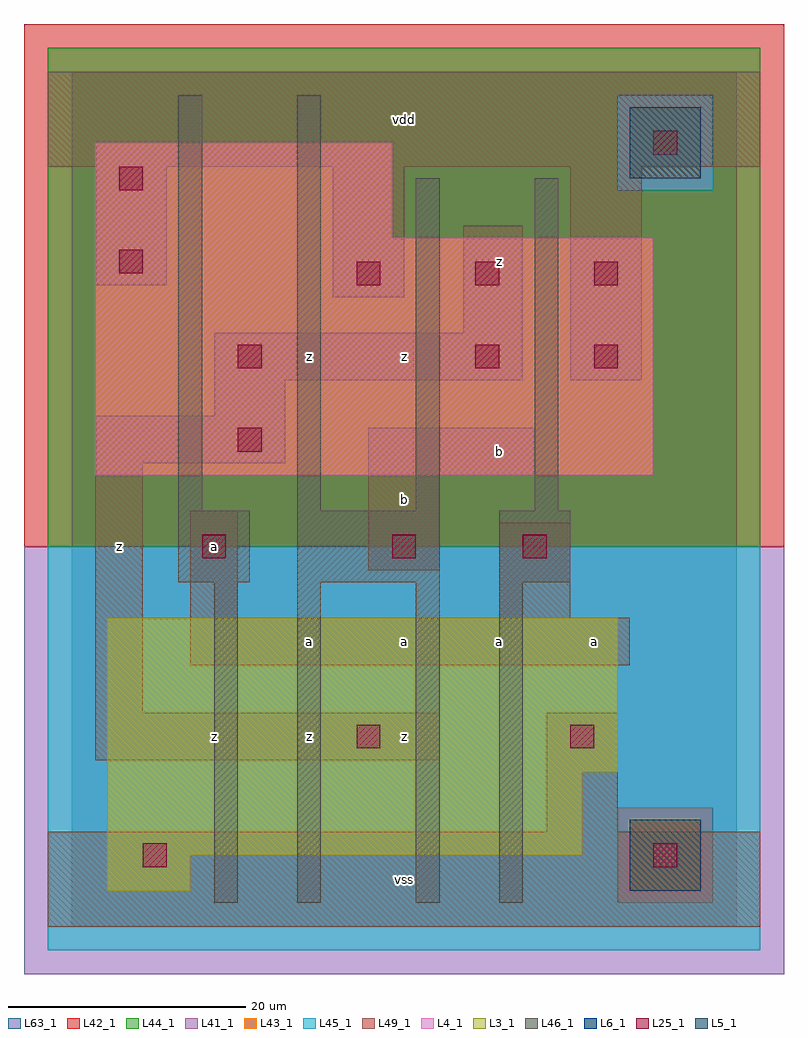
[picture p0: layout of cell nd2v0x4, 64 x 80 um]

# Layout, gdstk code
import gdstk
lib = gdstk.Library(unit=1e-6, precision=1e-09)
def R(c, l, rs):  # rectangles x0, y0, x1, y1
    for r in rs: c.add(gdstk.rectangle(r[:2], r[2:], *l))
def A(c, l, x, y, w, h, nx, ny, dx, dy):  # array of equal rectangles
    R(c, l, [(x+i*dx, y+j*dy, x+i*dx+w, y+j*dy+h) for i in range(nx) for j in range(ny)])
L3_1 = (3, 1)
L4_1 = (4, 1)
L5_1 = (5, 1)
L6_1 = (6, 1)
L25_1 = (25, 1)
L41_1 = (41, 1)
L42_1 = (42, 1)
L43_1 = (43, 1)
L44_1 = (44, 1)
L45_1 = (45, 1)
L46_1 = (46, 1)
L49_1 = (49, 1)
L63_1 = (63, 1)

nd2v0x4 = lib.new_cell('nd2v0x4')
R(nd2v0x4, L3_1, [(3,3,10,6), (3,6,43,13), (3,13,46,26)])
R(nd2v0x4, L4_1, [(2,38,49,58), (2,58,27,66)])
R(nd2v0x4, L5_1, [(47,63,53,69)])
R(nd2v0x4, L6_1, [(47,3,53,9), (47,3,53,9)])
A(nd2v0x4, L25_1, 24, 54, 2, 2, 3, 1, 10, 0)
R(nd2v0x4, L25_1, [(6,5,8,7), (49,5,51,7), (24,15,26,17), (42,15,44,17), (11,31,13,33), (27,31,29,33), (38,31,40,33), (14,40,16,42), (14,47,16,49), (34,47,36,49), (44,47,46,49), (4,55,6,57), (4,62,6,64), (49,65,51,67)])
R(nd2v0x4, L41_1, [(-4,-4,60,32)])
R(nd2v0x4, L42_1, [(-4,32,60,76)])
R(nd2v0x4, L43_1, [(3,3,10,6), (47,3,53,9), (3,6,43,13), (3,13,46,26), (2,38,49,58), (2,58,27,66), (47,63,53,69)])
R(nd2v0x4, L44_1, [(46,2,54,10), (-2,32,58,62), (-2,62,46,70), (54,62,58,70), (-2,70,58,74)])
R(nd2v0x4, L45_1, [(-2,-2,58,2), (-2,2,46,10), (54,2,58,10), (-2,10,58,32), (46,62,54,70)])
R(nd2v0x4, L46_1, [(12,2,14,29), (19,2,21,29), (29,2,31,29), (36,2,38,29), (9,29,15,35), (19,29,31,35), (36,29,42,35), (9,35,11,70), (19,35,21,70), (29,35,31,63), (39,35,41,63)])
R(nd2v0x4, L49_1, [(-2,0,58,8), (40,8,46,18), (2,14,31,18), (2,18,6,39), (10,22,47,26), (10,26,14,35), (36,26,42,34), (25,30,31,38), (25,38,39,42), (2,39,18,43), (12,43,18,46), (12,46,38,50), (42,46,48,64), (33,50,38,59), (22,53,28,64), (2,54,8,64), (-2,64,58,72)])
R(nd2v0x4, L63_1, [(0,0,56,72)])
nd2v0x4.add(gdstk.Label('z', (4,32), layer=49, texttype=1))
nd2v0x4.add(gdstk.Label('z', (20,16), layer=49, texttype=1))
nd2v0x4.add(gdstk.Label('z', (12,16), layer=49, texttype=1))
nd2v0x4.add(gdstk.Label('a', (12,32), layer=49, texttype=1))
nd2v0x4.add(gdstk.Label('a', (20,24), layer=49, texttype=1))
nd2v0x4.add(gdstk.Label('z', (20,48), layer=49, texttype=1))
nd2v0x4.add(gdstk.Label('vss', (28,4), layer=49, texttype=1))
nd2v0x4.add(gdstk.Label('z', (28,16), layer=49, texttype=1))
nd2v0x4.add(gdstk.Label('a', (28,24), layer=49, texttype=1))
nd2v0x4.add(gdstk.Label('a', (36,24), layer=49, texttype=1))
nd2v0x4.add(gdstk.Label('b', (36,40), layer=49, texttype=1))
nd2v0x4.add(gdstk.Label('b', (28,36), layer=49, texttype=1))
nd2v0x4.add(gdstk.Label('z', (28,48), layer=49, texttype=1))
nd2v0x4.add(gdstk.Label('z', (36,56), layer=49, texttype=1))
nd2v0x4.add(gdstk.Label('vdd', (28,68), layer=49, texttype=1))
nd2v0x4.add(gdstk.Label('a', (44,24), layer=49, texttype=1))

lib.write_gds('nd2v0x4.gds')
